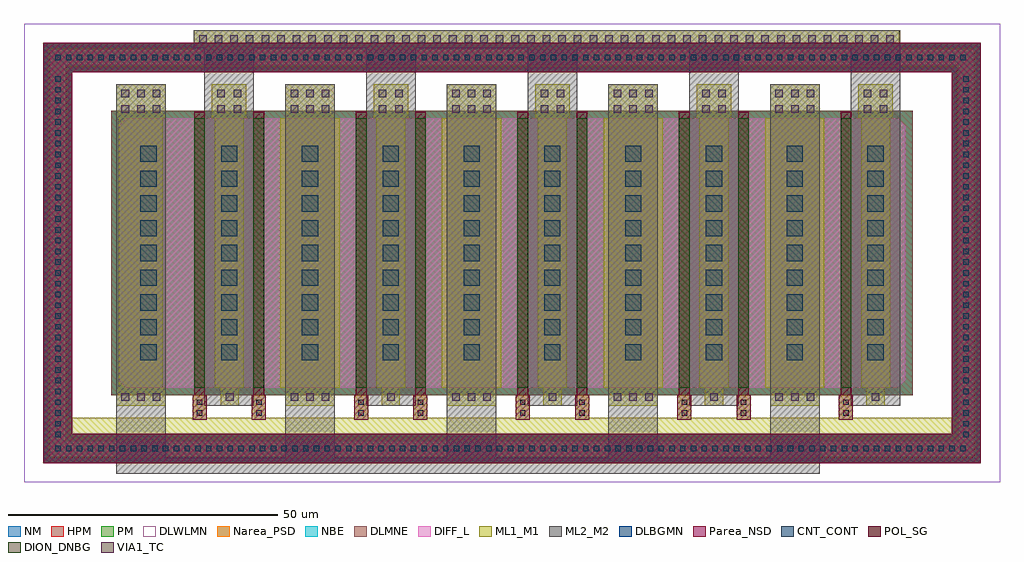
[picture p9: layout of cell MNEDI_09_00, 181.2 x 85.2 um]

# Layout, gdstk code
from math import pi, radians
import gdstk
lib = gdstk.Library(unit=1e-6, precision=1e-09)
def R(c, l, rs):  # rectangles x0, y0, x1, y1
    for r in rs: c.add(gdstk.rectangle(r[:2], r[2:], *l))
def A(c, l, x, y, w, h, nx, ny, dx, dy):  # array of equal rectangles
    R(c, l, [(x+i*dx, y+j*dy, x+i*dx+w, y+j*dy+h) for i in range(nx) for j in range(ny)])
def P(c, l, *ps):  # polygons
    for p in ps: c.add(gdstk.Polygon(p, *l))
DIFF_L = (3, 0)
NM = (7, 0)
POL_SG = (8, 0)
Narea_PSD = (9, 0)
CNT_CONT = (11, 0)
ML1_M1 = (13, 0)
VIA1_TC = (19, 0)
ML2_M2 = (20, 0)
Parea_NSD = (28, 0)
HPM = (33, 0)
PM = (35, 0)
DION_DNBG = (117, 0)
NBE = (147, 0)
DLWLMN = (151, 0)
DLMNE = (170, 0)
DLBGMN = (178, 0)

bgmn_cdns_696586982800 = lib.new_cell('BGMN_CDNS_696586982800')
R(bgmn_cdns_696586982800, DIFF_L, [(0,0,171.2,2.6)])
R(bgmn_cdns_696586982800, NM, [(-1.4,-1.4,172.6,4)])
A(bgmn_cdns_696586982800, CNT_CONT, 0.8, 0.8, 1, 1, 85, 1, 2, 0)
R(bgmn_cdns_696586982800, ML1_M1, [(0,0,171.2,2.6)])
R(bgmn_cdns_696586982800, Parea_NSD, [(-1.4,-1.4,172.6,4)])
R(bgmn_cdns_696586982800, HPM, [(-1.4,-1.4,172.6,4)])
R(bgmn_cdns_696586982800, PM, [(-1.4,-1.4,172.6,4)])

mne_cdns_696586982801 = lib.new_cell('MNE_CDNS_696586982801')
R(mne_cdns_696586982801, DIFF_L, [(10,0,12,50)])
P(mne_cdns_696586982801, DIFF_L, [(12,0),(12,50),(24.6,50),(26,48.6),(26,1.4),(24.6,0)],
  [(1.4,0),(0,1.4),(0,48.6),(1.4,50),(10,50),(10,0)])
R(mne_cdns_696586982801, NM, [(-1.4,-1.4,27.4,51.4)])
R(mne_cdns_696586982801, POL_SG, [(10,-1.2,12,0), (10,-1.2,12,51.2), (10,50,12,51.2)])
R(mne_cdns_696586982801, Narea_PSD, [(-1.4,-1.4,27.4,51.4)])
A(mne_cdns_696586982801, CNT_CONT, 4, 5.1, 3, 3, 1, 9, 0, 4.6)
A(mne_cdns_696586982801, CNT_CONT, 19, 5.1, 3, 3, 1, 9, 0, 4.6)
R(mne_cdns_696586982801, ML1_M1, [(2.8,0,8.2,50), (17.8,0,26,50)])
R(mne_cdns_696586982801, HPM, [(-1.4,-1.4,27.4,51.4)])
R(mne_cdns_696586982801, PM, [(-1.4,-1.4,27.4,51.4)])
R(mne_cdns_696586982801, DION_DNBG, [(10,0,12,50)])
R(mne_cdns_696586982801, NBE, [(-1.4,-1.4,27.4,51.4)])
R(mne_cdns_696586982801, DLMNE, [(-1.4,-1.4,27.4,51.4)])

bgmn_cdns_696586982802 = lib.new_cell('BGMN_CDNS_696586982802')
R(bgmn_cdns_696586982802, DIFF_L, [(0,0,70,2.6)])
R(bgmn_cdns_696586982802, NM, [(-1.4,-1.4,71.4,4)])
A(bgmn_cdns_696586982802, CNT_CONT, 0.8, 0.8, 1, 1, 34, 1, 2, 0)
R(bgmn_cdns_696586982802, ML1_M1, [(0,0,70,2.6)])
R(bgmn_cdns_696586982802, Parea_NSD, [(-1.4,-1.4,71.4,4)])
R(bgmn_cdns_696586982802, HPM, [(-1.4,-1.4,71.4,4)])
R(bgmn_cdns_696586982802, PM, [(-1.4,-1.4,71.4,4)])

wlmn_cdns_696586982803 = lib.new_cell('WLMN_CDNS_696586982803')
R(wlmn_cdns_696586982803, DLWLMN, [(0,0,181.2,85.2)])

tc14_cdns_696586982800 = lib.new_cell('TC14_CDNS_696586982800')
R(tc14_cdns_696586982800, ML1_M1, [(-65.5,-1.7,65.5,1.7)])
A(tc14_cdns_696586982800, VIA1_TC, -64.5, -0.7, 1.4, 1.4, 45, 1, 2.9, 0)
R(tc14_cdns_696586982800, ML2_M2, [(-65.5,-1.7,65.5,1.7)])

tc14_cdns_696586982801 = lib.new_cell('TC14_CDNS_696586982801')
R(tc14_cdns_696586982801, ML1_M1, [(-4.6,-3.1,4.6,3.2)])
A(tc14_cdns_696586982801, VIA1_TC, -3.6, -2.1, 1.4, 1.4, 3, 2, 2.9, 2.9)
R(tc14_cdns_696586982801, ML2_M2, [(-4.6,-3.1,4.6,3.2)])

tc14_cdns_696586982802 = lib.new_cell('TC14_CDNS_696586982802')
R(tc14_cdns_696586982802, ML1_M1, [(-1.7,-3.1,1.7,3.2)])
R(tc14_cdns_696586982802, VIA1_TC, [(-0.7,-2.1,0.7,-0.7), (-0.7,0.8,0.7,2.2)])
R(tc14_cdns_696586982802, ML2_M2, [(-1.7,-3.1,1.7,3.2)])

tc14_cdns_696586982803 = lib.new_cell('TC14_CDNS_696586982803')
R(tc14_cdns_696586982803, ML1_M1, [(-4.6,-1.7,4.6,1.7)])
A(tc14_cdns_696586982803, VIA1_TC, -3.6, -0.7, 1.4, 1.4, 3, 1, 2.9, 0)
R(tc14_cdns_696586982803, ML2_M2, [(-4.6,-1.7,4.6,1.7)])

tc14_cdns_696586982804 = lib.new_cell('TC14_CDNS_696586982804')
R(tc14_cdns_696586982804, ML1_M1, [(-1.7,-1.7,1.7,1.7)])
R(tc14_cdns_696586982804, VIA1_TC, [(-0.7,-0.7,0.7,0.7)])
R(tc14_cdns_696586982804, ML2_M2, [(-1.7,-1.7,1.7,1.7)])

sgct_cdns_696586982805 = lib.new_cell('SGCT_CDNS_696586982805')
R(sgct_cdns_696586982805, POL_SG, [(-1.3,-2.3,1.3,2.3)])
R(sgct_cdns_696586982805, CNT_CONT, [(-0.5,-1.5,0.5,-0.5), (-0.5,0.5,0.5,1.5)])
R(sgct_cdns_696586982805, ML1_M1, [(-1.3,-2.3,1.3,2.3)])

mnedi_09_00 = lib.new_cell('MNEDI_09_00')
R(mnedi_09_00, POL_SG, [(31.6,16.2,33.6,16.4), (42.6,16.2,44.6,16.4), (61.6,16.2,63.6,16.4), (72.6,16.2,74.6,16.4), (91.6,16.2,93.6,16.4), (102.6,16.2,104.6,16.4), (121.6,16.2,123.6,16.4), (132.6,16.2,134.6,16.4), (151.6,16.2,153.6,16.4)])
R(mnedi_09_00, ML1_M1, [(7.6,7.6,173.6,12)])
A(mnedi_09_00, ML2_M2, 48.5, 1.6, 9.2, 72.3, 4, 1, 30, 0)
A(mnedi_09_00, ML2_M2, 33.5, 14.2, 9.2, 69.8, 5, 1, 30, 0)
R(mnedi_09_00, ML2_M2, [(17.1,1.6,18.6,3.1), (17.1,1.6,26.3,73.9), (31.5,83,32.5,84)])
R(mnedi_09_00, DLBGMN, [(3.6,3.6,177.6,9), (3.6,6.2,9,79), (172.2,6.2,177.6,79), (3.6,76.2,177.6,81.6)])
mnedi_09_00.add(gdstk.FlexPath([(6.3,4.6),(6.3,80.6)], 3.4, ends="flush", simple_path=True, layer=13, datatype=0))  # ML1_M1
mnedi_09_00.add(gdstk.FlexPath([(4.6,78.9),(176.6,78.9)], 3.4, ends="flush", simple_path=True, layer=13, datatype=0))  # ML1_M1
mnedi_09_00.add(gdstk.FlexPath([(4.6,6.3),(176.2,6.3)], 3.4, ends="flush", simple_path=True, layer=13, datatype=0))  # ML1_M1
mnedi_09_00.add(gdstk.FlexPath([(174.9,4.6),(174.9,80.6)], 3.4, ends="flush", simple_path=True, layer=13, datatype=0))  # ML1_M1
mnedi_09_00.add(gdstk.FlexPath([(147.7,3.1),(17.1,3.1)], 3, ends="flush", simple_path=True, layer=20, datatype=0))  # ML2_M2
mnedi_09_00.add(gdstk.Reference(bgmn_cdns_696586982800, (5,5)))
mnedi_09_00.add(gdstk.Reference(bgmn_cdns_696586982800, (5,77.6)))
mnedi_09_00.add(gdstk.Reference(mne_cdns_696586982801, (103.6,17.6), rotation=pi, x_reflection=True))
mnedi_09_00.add(gdstk.Reference(mne_cdns_696586982801, (73.6,17.6), rotation=pi, x_reflection=True))
mnedi_09_00.add(gdstk.Reference(mne_cdns_696586982801, (92.6,17.6)))
mnedi_09_00.add(gdstk.Reference(mne_cdns_696586982801, (32.6,17.6)))
mnedi_09_00.add(gdstk.Reference(mne_cdns_696586982801, (62.6,17.6)))
mnedi_09_00.add(gdstk.Reference(mne_cdns_696586982801, (43.6,17.6), rotation=pi, x_reflection=True))
mnedi_09_00.add(gdstk.Reference(mne_cdns_696586982801, (133.6,17.6), rotation=pi, x_reflection=True))
mnedi_09_00.add(gdstk.Reference(mne_cdns_696586982801, (122.6,17.6)))
mnedi_09_00.add(gdstk.Reference(mne_cdns_696586982801, (163.6,17.6), rotation=pi, x_reflection=True))
mnedi_09_00.add(gdstk.Reference(bgmn_cdns_696586982802, (176.2,7.6), rotation=pi/2))
mnedi_09_00.add(gdstk.Reference(bgmn_cdns_696586982802, (7.6,7.6), rotation=pi/2))
mnedi_09_00.add(gdstk.Reference(wlmn_cdns_696586982803, (0,0)))
mnedi_09_00.add(gdstk.Reference(tc14_cdns_696586982800, (97,82.3)))
mnedi_09_00.add(gdstk.Reference(tc14_cdns_696586982801, (143.1,70.7)))
mnedi_09_00.add(gdstk.Reference(tc14_cdns_696586982801, (113.1,70.7)))
mnedi_09_00.add(gdstk.Reference(tc14_cdns_696586982801, (83.1,70.7)))
mnedi_09_00.add(gdstk.Reference(tc14_cdns_696586982801, (53.1,70.7)))
mnedi_09_00.add(gdstk.Reference(tc14_cdns_696586982801, (21.7,70.7)))
mnedi_09_00.add(gdstk.Reference(tc14_cdns_696586982802, (159.6,70.7)))
mnedi_09_00.add(gdstk.Reference(tc14_cdns_696586982802, (156.6,70.7)))
mnedi_09_00.add(gdstk.Reference(tc14_cdns_696586982802, (129.6,70.7)))
mnedi_09_00.add(gdstk.Reference(tc14_cdns_696586982802, (126.6,70.7)))
mnedi_09_00.add(gdstk.Reference(tc14_cdns_696586982802, (99.6,70.7)))
mnedi_09_00.add(gdstk.Reference(tc14_cdns_696586982802, (96.6,70.7)))
mnedi_09_00.add(gdstk.Reference(tc14_cdns_696586982802, (69.6,70.7)))
mnedi_09_00.add(gdstk.Reference(tc14_cdns_696586982802, (66.6,70.7)))
mnedi_09_00.add(gdstk.Reference(tc14_cdns_696586982802, (39.6,70.7)))
mnedi_09_00.add(gdstk.Reference(tc14_cdns_696586982802, (36.6,70.7)))
mnedi_09_00.add(gdstk.Reference(tc14_cdns_696586982803, (143.1,15.9)))
mnedi_09_00.add(gdstk.Reference(tc14_cdns_696586982803, (113.1,15.9)))
mnedi_09_00.add(gdstk.Reference(tc14_cdns_696586982803, (83.1,15.9)))
mnedi_09_00.add(gdstk.Reference(tc14_cdns_696586982803, (53.1,15.9)))
mnedi_09_00.add(gdstk.Reference(tc14_cdns_696586982803, (21.7,15.9)))
mnedi_09_00.add(gdstk.Reference(tc14_cdns_696586982804, (158.1,15.9)))
mnedi_09_00.add(gdstk.Reference(tc14_cdns_696586982804, (128.1,15.9)))
mnedi_09_00.add(gdstk.Reference(tc14_cdns_696586982804, (98.1,15.9)))
mnedi_09_00.add(gdstk.Reference(tc14_cdns_696586982804, (68.1,15.9)))
mnedi_09_00.add(gdstk.Reference(tc14_cdns_696586982804, (38.2,15.9)))
mnedi_09_00.add(gdstk.Reference(sgct_cdns_696586982805, (152.6,13.9)))
mnedi_09_00.add(gdstk.Reference(sgct_cdns_696586982805, (133.6,13.9)))
mnedi_09_00.add(gdstk.Reference(sgct_cdns_696586982805, (122.6,13.9)))
mnedi_09_00.add(gdstk.Reference(sgct_cdns_696586982805, (103.6,13.9)))
mnedi_09_00.add(gdstk.Reference(sgct_cdns_696586982805, (92.6,13.9)))
mnedi_09_00.add(gdstk.Reference(sgct_cdns_696586982805, (73.6,13.9)))
mnedi_09_00.add(gdstk.Reference(sgct_cdns_696586982805, (62.6,13.9)))
mnedi_09_00.add(gdstk.Reference(sgct_cdns_696586982805, (43.6,13.9)))
mnedi_09_00.add(gdstk.Reference(sgct_cdns_696586982805, (32.6,13.9)))

lib.write_gds('MNEDI_09_00.gds')
